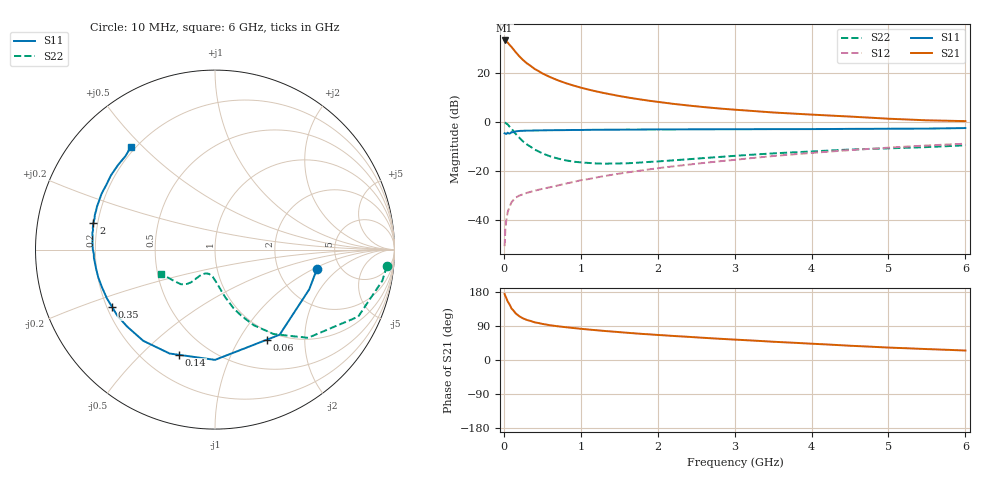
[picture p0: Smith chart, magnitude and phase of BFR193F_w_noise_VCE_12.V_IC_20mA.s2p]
! Infineon Technologies  Discrete & RF Semiconductors
! BFR193F
! VCE =  12. V,  IC =  20 mA
! Common Emitter S-Parameters:  Jan 2017
# GHz  S  MA  R  50
!  f  S11  S21  S12  S22
! GHz  MAG  ANG  MAG  ANG  MAG  ANG  MAG  ANG
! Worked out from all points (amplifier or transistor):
!   77 points, 10 MHz to 6 GHz, reference 50 ohm
!   highest |S21| = 33.1 dB at 10 MHz (marker M1)
!   |S21| within 3 dB of that: start of sweep to 109 MHz
!   unconditionally stable (mu >= 1): 1.365 GHz to 2.757 GHz
!   at 130 MHz: K = 0.28, MSG = 30.5 dB, |S12| = -31.7 dB
!   at 2.2 GHz: K = 1.03, MAG = 11.7 dB, |S12| = -18.2 dB
!   at 6 GHz: K = 0.82, MSG = 4.6 dB, |S12| = -9.0 dB
!   lowest NFmin = 1.04 dB at 450 MHz
!   S11 on the Smith chart (normalised r, x): 10 MHz: 3.36, -1.08; 60 MHz: 0.87, -1.32; 140 MHz: 0.34, -0.66; 350 MHz: 0.22, -0.25; 2 GHz: 0.18, +0.11; 6 GHz: 0.18, +0.46
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0.01  0.5783 -10.7  45.11 174.3  0.0029 79.8  0.9617 -5.4
0.02  0.57 -22.8  44.02 168.8  0.0064 81.5  0.9486 -10.5
0.05  0.5956 -52.8  40.95 154.5  0.0144 69.4  0.8809 -25.1
0.06  0.5791 -60.2  39.12 151.4  0.016 65.4  0.8415 -28.2
0.1  0.6144 -90.0  33.23 135.8  0.0228 55.2  0.7142 -43.5
0.14  0.62 -109.0  27.74 126.7  0.0269 50.2  0.5992 -52.4
0.15  0.6318 -113.6  26.5 123.8  0.028 49.2  0.5733 -55.2
0.2  0.6466 -128.2  21.6 115.5  0.0311 46.3  0.473 -62.9
0.25  0.6507 -138.7  17.98 109.8  0.0331 45.5  0.3951 -68.4
0.3  0.6569 -145.8  15.41 105.6  0.0354 45.0  0.3435 -72.4
0.35  0.6564 -150.8  13.62 102.9  0.0372 45.6  0.3063 -74.9
0.4  0.6608 -155.7  11.88 99.4  0.0391 46.2  0.2699 -78.0
0.5  0.6641 -161.9  9.632 95.3  0.0427 49.5  0.2258 -81.9
0.6  0.6686 -166.6  8.1 91.8  0.046 51.5  0.1966 -85.5
0.8  0.6727 -173.2  6.125 86.7  0.0544 56.6  0.1633 -91.8
1.1  0.6807 180.0  4.498 80.4  0.0675 61.4  0.1441 -99.8
2  0.6942 167.5  2.529 66.1  0.1124 68.8  0.1544 -117.0
2.1  0.6935 166.6  2.417 64.9  0.1175 69.2  0.1585 -117.9
3.1  0.7006 157.5  1.708 52.8  0.1729 70.7  0.2058 -124.1
4.1  0.7059 148.3  1.366 42.0  0.2368 68.8  0.2515 -130.3
5.1  0.7172 138.0  1.13 32.0  0.3012 64.4  0.2889 -143.3
6  0.7402 129.2  1.025 25.0  0.3553 59.4  0.3299 -156.1
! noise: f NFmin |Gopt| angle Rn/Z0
0.45  1.04  0.33  168  0.06
0.9  1.12  0.39  169  0.07
1.9  1.71  0.57  -171  0.06
2.4  2.01  0.61  -161  0.1
